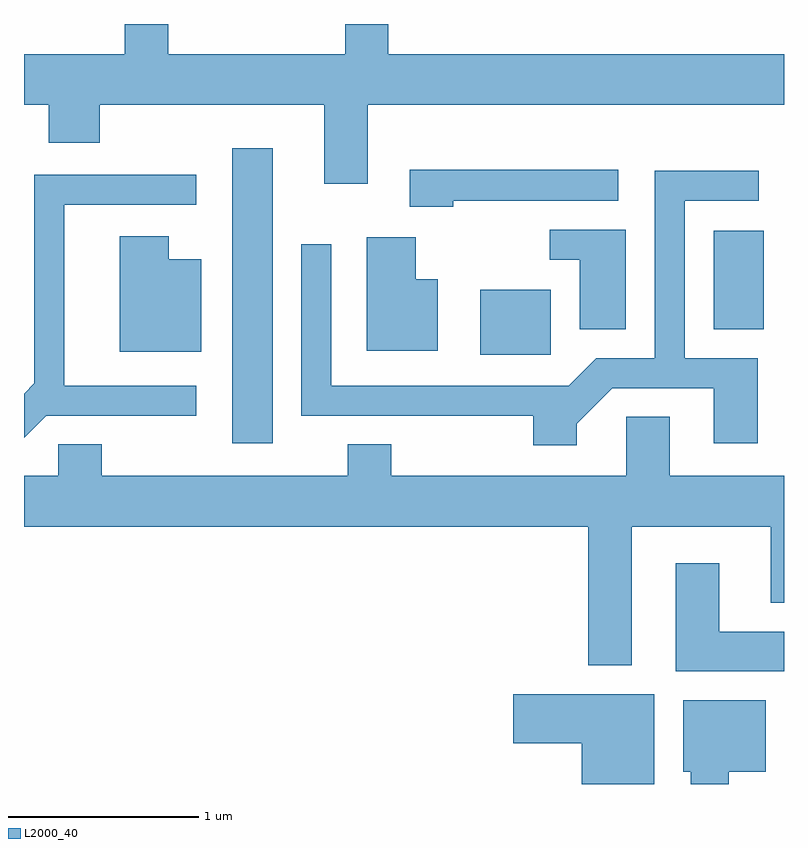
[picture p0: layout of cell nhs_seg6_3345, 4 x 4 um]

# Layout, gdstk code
import gdstk
lib = gdstk.Library(unit=1e-6, precision=1e-09)
def R(c, l, rs):  # rectangles x0, y0, x1, y1
    for r in rs: c.add(gdstk.rectangle(r[:2], r[2:], *l))
def P(c, l, *ps):  # polygons
    for p in ps: c.add(gdstk.Polygon(p, *l))
L2000_40 = (2000, 40)

nhs_seg6_3345 = lib.new_cell('nhs_seg6_3345')
R(nhs_seg6_3345, L2000_40, [(286.706,1625.956,286.919,1627.509), (288.011,1626.421,288.384,1626.764), (289.241,1626.556,289.504,1627.074)])
P(nhs_seg6_3345, L2000_40, [(287.419,1627.736),(289.611,1627.736),(289.611,1628.004),(287.529,1628.004),(287.529,1628.162),(287.301,1628.162),(287.301,1628.004),(286.369,1628.004),(286.369,1628.162),(286.141,1628.162),(286.141,1628.004),(285.611,1628.004),(285.611,1627.736),(285.741,1627.736),(285.741,1627.536),(286.009,1627.536),(286.009,1627.736),(287.191,1627.736),(287.191,1627.321),(287.419,1627.321)],
  [(287.869,1627.231),(288.738,1627.231),(288.738,1627.394),(287.641,1627.394),(287.641,1627.201),(287.869,1627.201)],
  [(288.519,1626.059),(288.707,1626.246),(289.241,1626.246),(289.241,1625.956),(289.474,1625.956),(289.474,1626.404),(289.089,1626.404),(289.089,1627.231),(289.478,1627.231),(289.478,1627.389),(288.931,1627.389),(288.931,1626.404),(288.624,1626.404),(288.479,1626.259),(287.229,1626.259),(287.229,1627.003),(287.071,1627.003),(287.071,1626.101),(288.291,1626.101),(288.291,1625.946),(288.519,1625.946)],
  [(285.727,1626.101),(286.518,1626.101),(286.518,1626.259),(285.824,1626.259),(285.824,1627.211),(286.518,1627.211),(286.518,1627.369),(285.666,1627.369),(285.666,1626.272),(285.611,1626.217),(285.611,1625.985)],
  [(288.779,1627.079),(288.378,1627.079),(288.378,1626.921),(288.536,1626.921),(288.536,1626.556),(288.779,1626.556)],
  [(286.544,1626.924),(286.374,1626.924),(286.374,1627.044),(286.116,1627.044),(286.116,1626.436),(286.544,1626.436)],
  [(287.789,1626.819),(287.674,1626.819),(287.674,1627.039),(287.416,1627.039),(287.416,1626.441),(287.789,1626.441)],
  [(288.809,1625.516),(289.541,1625.516),(289.541,1625.116),(289.611,1625.116),(289.611,1625.784),(289.009,1625.784),(289.009,1626.094),(288.781,1626.094),(288.781,1625.784),(287.544,1625.784),(287.544,1625.949),(287.316,1625.949),(287.316,1625.784),(286.019,1625.784),(286.019,1625.949),(285.791,1625.949),(285.791,1625.784),(285.611,1625.784),(285.611,1625.516),(288.581,1625.516),(288.581,1624.786),(288.809,1624.786)],
  [(289.611,1624.964),(289.269,1624.964),(289.269,1625.324),(289.041,1625.324),(289.041,1624.756),(289.611,1624.756)],
  [(288.929,1624.634),(288.186,1624.634),(288.186,1624.376),(288.546,1624.376),(288.546,1624.162),(288.929,1624.162)],
  [(289.319,1624.226),(289.514,1624.226),(289.514,1624.604),(289.081,1624.604),(289.081,1624.226),(289.121,1624.226),(289.121,1624.162),(289.319,1624.162)])

lib.write_gds('nhs_seg6_3345.gds')
